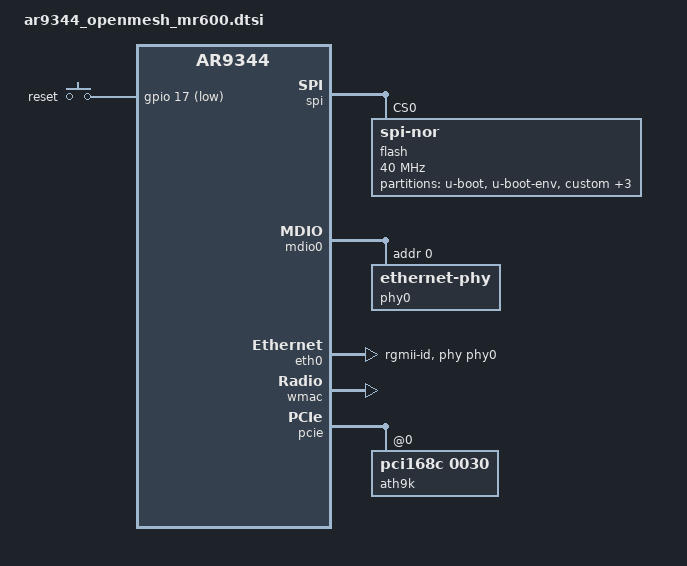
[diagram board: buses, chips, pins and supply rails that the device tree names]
// SPDX-License-Identifier: GPL-2.0-or-later OR MIT

#include "ar9344.dtsi"

#include <dt-bindings/gpio/gpio.h>
#include <dt-bindings/input/input.h>

/ {
	chosen {
		/delete-property/ bootargs;
	};

	aliases {
		label-mac-device = &eth0;
	};

	keys {
		compatible = "gpio-keys";

		reset {
			label = "reset";
			linux,code = <KEY_RESTART>;
			gpios = <&gpio 17 GPIO_ACTIVE_LOW>;
		};
	};
};

&ref {
	clock-frequency = <40000000>;
};

&spi {
	status = "okay";

	flash@0 {
		compatible = "jedec,spi-nor";
		reg = <0>;
		spi-max-frequency = <40000000>;

		/* partitions are passed via bootloader */
		partitions {
			compatible = "fixed-partitions";
			#address-cells = <1>;
			#size-cells = <1>;

			partition@0 {
				label = "u-boot";
				reg = <0x000000 0x040000>;
				read-only;
			};

			partition@40000 {
				label = "u-boot-env";
				reg = <0x040000 0x010000>;
			};

			partition@50000 {
				label = "custom";
				reg = <0x050000 0x060000>;
				read-only;
			};

			partition@b0000 {
				label = "inactive";
				reg = <0x0b0000 0x7a0000>;
			};

			partition@850000 {
				label = "inactive2";
				reg = <0x850000 0x7a0000>;
			};

			art: partition@ff0000 {
				label = "ART";
				reg = <0xff0000 0x010000>;
				read-only;
			};
		};
	};
};

&mdio0 {
	status = "okay";

	phy-mask = <0x1>;

	phy0: ethernet-phy@0 {
		reg = <0>;
		eee-broken-100tx;
		eee-broken-1000t;
	};
};

&eth0 {
	status = "okay";

	pll-data = <0x02000000 0x00000101 0x00001313>;

	nvmem-cells = <&macaddr_art_0>;
	nvmem-cell-names = "mac-address";

	phy-mode = "rgmii-id";
	phy-handle = <&phy0>;

	gmac-config {
		device = <&gmac>;
		rgmii-gmac0 = <1>;
		rxdv-delay = <3>;
		rxd-delay = <3>;
	};
};

&wmac {
	status = "okay";

	mtd-cal-data = <&art 0x1000>;
	nvmem-cells = <&macaddr_art_0>;
	nvmem-cell-names = "mac-address";
	mac-address-increment = <1>;
};

&pcie {
	status = "okay";

	ath9k: wifi@0,0 {
		compatible = "pci168c,0030";
		reg = <0x0000 0 0 0 0>;
		qca,no-eeprom;
		nvmem-cells = <&macaddr_art_0>;
		nvmem-cell-names = "mac-address";
		mac-address-increment = <8>;

		gpio-controller;
		#gpio-cells = <2>;
	};
};

&art {
	compatible = "nvmem-cells";
	#address-cells = <1>;
	#size-cells = <1>;

	macaddr_art_0: macaddr@0 {
		reg = <0x0 0x6>;
	};
};
